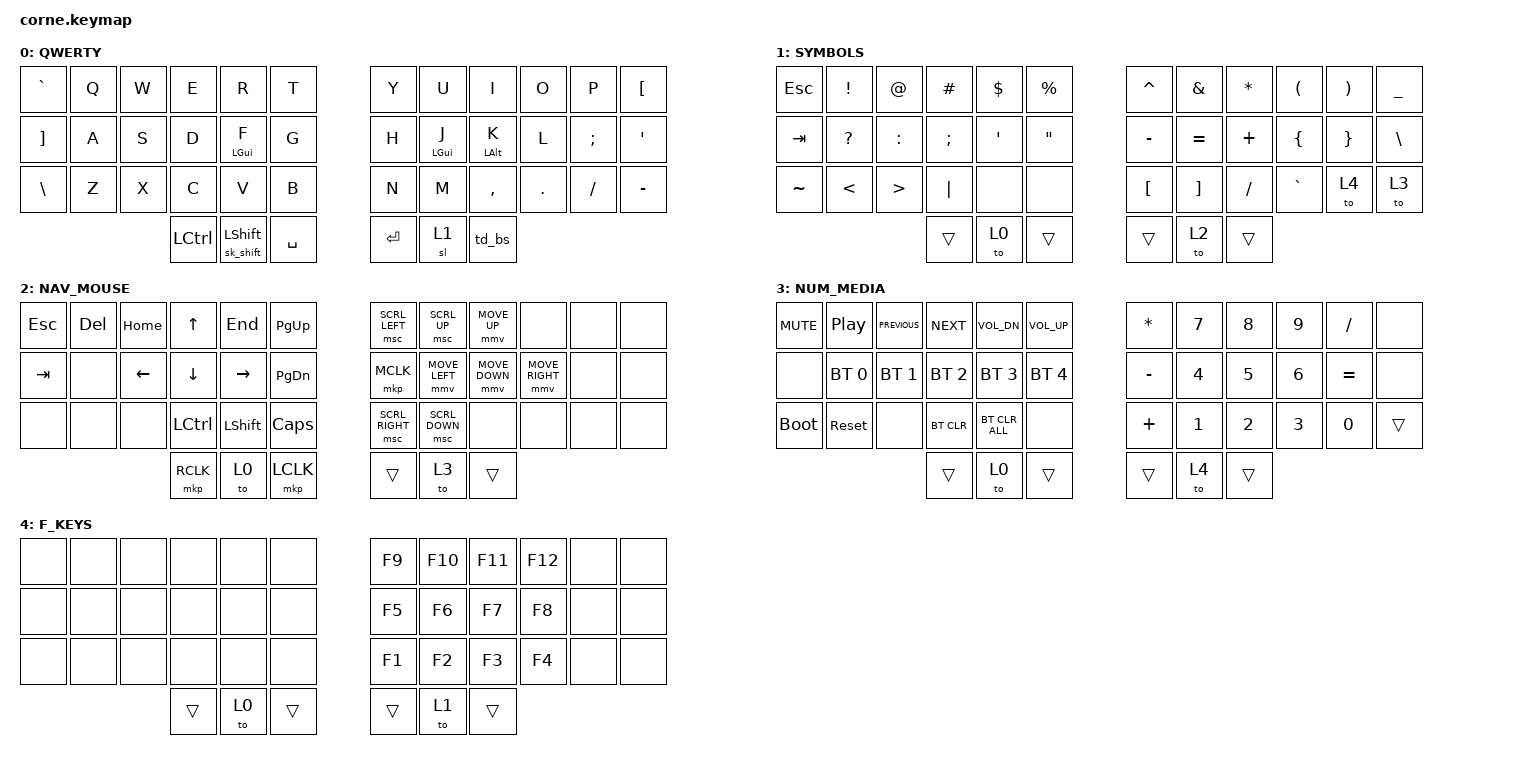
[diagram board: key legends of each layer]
#include <behaviors.dtsi>
#include <dt-bindings/zmk/bt.h>
#include <dt-bindings/zmk/keys.h>
#define ZMK_POINTING_DEFAULT_MOVE_VAL 1500
#include <dt-bindings/zmk/pointing.h>

/*
 * Слои: 0 QWERTY, 1 SYMBOLS, 2 NAV_MOUSE, 3 NUM_MEDIA, 4 F_KEYS
 * Левый средний большой палец на любом слое кроме основного = назад на QWERTY.
 * Правый средний большой палец: с QWERTY = SYMBOLS (тап: один знак, держать: пока держишь);
 *   на остальных слоях = следующий слой по кругу: SYMBOLS > NAV_MOUSE > NUM_MEDIA > F_KEYS > SYMBOLS.
 * На SYMBOLS ещё: правый нижний угол = NUM_MEDIA, рядом левее = F_KEYS.
 */

/ {
    behaviors {
        sk_shift: sk_shift {
            compatible = "zmk,behavior-sticky-key";
            #binding-cells = <1>;
            bindings = <&kp>;
            release-after-ms = <600>;
            quick-release;
        };

        // Backspace: один тап = Backspace, два тапа = Delete
        td_bs: td_bs {
            compatible = "zmk,behavior-tap-dance";
            #binding-cells = <0>;
            tapping-term-ms = <200>;
            bindings = <&kp BSPC>, <&kp DEL>;
        };

        hml: hml {
            compatible = "zmk,behavior-hold-tap";
            #binding-cells = <2>;
            flavor = "balanced";
            tapping-term-ms = <280>;
            quick-tap-ms = <175>;
            require-prior-idle-ms = <150>;
            hold-trigger-key-positions = <6 7 8 9 10 11 18 19 20 21 22 23 30 31 32 33 34 35 36 37 38 39 40 41>;
            hold-trigger-on-release;
            bindings = <&kp>, <&kp>;
        };

        hmr: hmr {
            compatible = "zmk,behavior-hold-tap";
            #binding-cells = <2>;
            flavor = "balanced";
            tapping-term-ms = <280>;
            quick-tap-ms = <175>;
            require-prior-idle-ms = <150>;
            hold-trigger-key-positions = <0 1 2 3 4 5 12 13 14 15 16 17 24 25 26 27 28 29 36 37 38 39 40 41>;
            hold-trigger-on-release;
            bindings = <&kp>, <&kp>;
        };
    };

    keymap {
        compatible = "zmk,keymap";

        default_layer {
            label = "QWERTY";
            bindings = <
&kp GRAVE  &kp Q  &kp W  &kp E      &kp R        &kp T        &kp Y    &kp U         &kp I         &kp O    &kp P      &kp LBKT
&kp RBKT   &kp A  &kp S  &kp D      &hml LGUI F  &kp G        &kp H    &hmr LGUI J   &hmr LALT K   &kp L    &kp SEMI   &kp SQT
&kp BSLH   &kp Z  &kp X  &kp C      &kp V        &kp B        &kp N    &kp M         &kp COMMA     &kp DOT  &kp FSLH   &kp MINUS
                         &kp LCTRL  &sk_shift LSHFT  &kp SPACE    &kp RET  &sl 1  &td_bs
            >;
        };

        symbols_layer {
            label = "SYMBOLS";
            bindings = <
&kp ESC    &kp EXCL   &kp AT     &kp HASH  &kp DLLR  &kp PRCNT    &kp CARET  &kp AMPS   &kp STAR  &kp LPAR  &kp RPAR  &kp UNDER
&kp TAB    &kp QMARK  &kp COLON  &kp SEMI  &kp SQT   &kp DQT      &kp MINUS  &kp EQUAL  &kp PLUS  &kp LBRC  &kp RBRC  &kp BSLH
&kp TILDE  &kp LT     &kp GT     &kp PIPE  &none     &none        &kp LBKT   &kp RBKT   &kp FSLH  &kp GRAVE &to 4     &to 3
                                 &trans    &to 0     &trans       &trans     &to 2      &trans
            >;
        };

        nav_mouse_layer {
            label = "NAV_MOUSE";
            bindings = <
&kp ESC  &kp DEL  &kp HOME  &kp UP    &kp END    &kp PG_UP    &msc SCRL_LEFT   &msc SCRL_UP    &mmv MOVE_UP    &none            &none  &none
&kp TAB  &none    &kp LEFT  &kp DOWN  &kp RIGHT  &kp PG_DN    &mkp MCLK        &mmv MOVE_LEFT  &mmv MOVE_DOWN  &mmv MOVE_RIGHT  &none  &none
&none    &none    &none     &kp LCTRL &kp LSHFT  &kp CAPS     &msc SCRL_RIGHT  &msc SCRL_DOWN  &none           &none            &none  &none
                            &mkp RCLK &to 0      &mkp LCLK    &trans           &to 3           &trans
            >;
        };

        num_media_layer {
            label = "NUM_MEDIA";
            bindings = <
&kp C_MUTE   &kp C_PLAY_PAUSE  &kp C_PREVIOUS  &kp C_NEXT    &kp C_VOL_DN    &kp C_VOLUME_UP    &kp STAR   &kp N7  &kp N8  &kp N9  &kp FSLH  &none
&none        &bt BT_SEL 0      &bt BT_SEL 1    &bt BT_SEL 2  &bt BT_SEL 3    &bt BT_SEL 4       &kp MINUS  &kp N4  &kp N5  &kp N6  &kp EQUAL &none
&bootloader  &sys_reset        &none           &bt BT_CLR    &bt BT_CLR_ALL  &none              &kp PLUS   &kp N1  &kp N2  &kp N3  &kp N0    &trans
                                               &trans        &to 0           &trans             &trans     &to 4   &trans
            >;
        };

        fkeys_layer {
            label = "F_KEYS";
            bindings = <
&none  &none  &none  &none  &none  &none    &kp F9  &kp F10  &kp F11  &kp F12  &none  &none
&none  &none  &none  &none  &none  &none    &kp F5  &kp F6   &kp F7   &kp F8   &none  &none
&none  &none  &none  &none  &none  &none    &kp F1  &kp F2   &kp F3   &kp F4   &none  &none
                     &trans &to 0  &trans    &trans  &to 1    &trans
            >;
        };
    };
};
